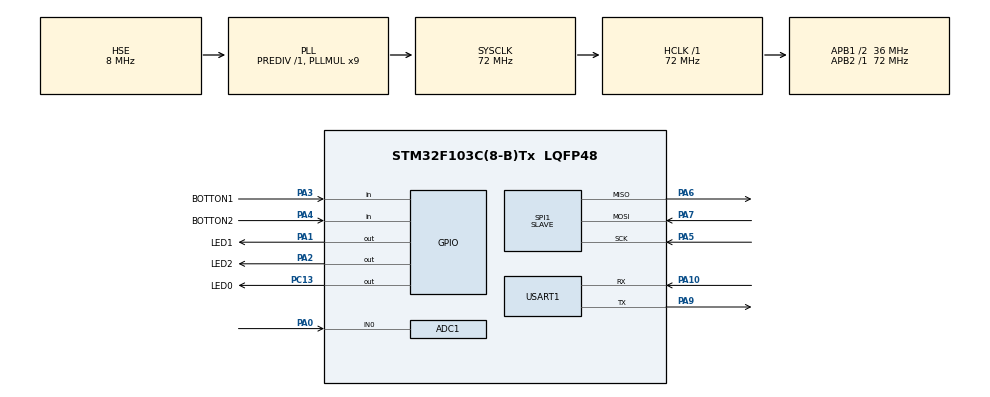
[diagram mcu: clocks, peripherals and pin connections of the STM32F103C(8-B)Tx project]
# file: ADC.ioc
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ADC1.Channel-0\#ChannelRegularConversion=ADC_CHANNEL_0
ADC1.ContinuousConvMode=ENABLE
ADC1.NbrOfConversionFlag=1
ADC1.Rank-0\#ChannelRegularConversion=1
ADC1.SamplingTime-0\#ChannelRegularConversion=ADC_SAMPLETIME_28CYCLES_5
ADC1.master=1
Mcu.Family=STM32F1
Mcu.Name=STM32F103C(8-B)Tx
Mcu.Package=LQFP48
NVIC.PriorityGroup=NVIC_PRIORITYGROUP_4
PA0-WKUP.Signal=ADCx_IN0
PA1.GPIO_Label=LED1
PA1.Signal=GPIO_Output
PA10.Mode=Asynchronous
PA10.Signal=USART1_RX
PA2.GPIO_Label=LED2
PA2.Signal=GPIO_Output
PA3.GPIO_Label=BOTTON1
PA3.GPIO_PuPd=GPIO_PULLUP
PA3.Signal=GPIO_Input
PA4.GPIO_Label=BOTTON2
PA4.GPIO_PuPd=GPIO_PULLUP
PA4.Signal=GPIO_Input
PA5.Mode=Full_Duplex_Slave
PA5.Signal=SPI1_SCK
PA6.Mode=Full_Duplex_Slave
PA6.Signal=SPI1_MISO
PA7.Mode=Full_Duplex_Slave
PA7.Signal=SPI1_MOSI
PA9.Mode=Asynchronous
PA9.Signal=USART1_TX
PC13-TAMPER-RTC.GPIO_Label=LED0
PC13-TAMPER-RTC.Signal=GPIO_Output
PD0-OSC_IN.Mode=HSE-External-Oscillator
PD0-OSC_IN.Signal=RCC_OSC_IN
PD1-OSC_OUT.Mode=HSE-External-Oscillator
PD1-OSC_OUT.Signal=RCC_OSC_OUT
ProjectManager.HeapSize=0x200
ProjectManager.StackSize=0x400
ProjectManager.TargetToolchain=MDK-ARM V5.32
RCC.ADCPresc=RCC_ADCPCLK2_DIV6
RCC.AHBFreq_Value=72000000
RCC.APB1CLKDivider=RCC_HCLK_DIV2
RCC.APB1Freq_Value=36000000
RCC.APB1TimFreq_Value=72000000
RCC.APB2Freq_Value=72000000
RCC.APB2TimFreq_Value=72000000
RCC.HCLKFreq_Value=72000000
RCC.PLLMUL=RCC_PLL_MUL9
RCC.PLLSourceVirtual=RCC_PLLSOURCE_HSE
RCC.SYSCLKFreq_VALUE=72000000
RCC.SYSCLKSource=RCC_SYSCLKSOURCE_PLLCLK
RCC.USBFreq_Value=72000000
SH.ADCx_IN0.0=ADC1_IN0,IN0
SPI1.Direction=SPI_DIRECTION_2LINES
SPI1.Mode=SPI_MODE_SLAVE
SPI1.VirtualType=VM_SLAVE
USART1.StopBits=STOPBITS_1
USART1.VirtualMode=VM_ASYNC
VP_SYS_VS_ND.Mode=No_Debug
board=custom

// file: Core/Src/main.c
/* USER CODE BEGIN Header */
/**
  ******************************************************************************
  * @file           : main.c
  * @brief          : Main program body
  ******************************************************************************
  * @attention
  *
  * Copyright (c) 2025 STMicroelectronics.
  * All rights reserved.
  *
  * This software is licensed under terms that can be found in the LICENSE file
  * in the root directory of this software component.
  * If no LICENSE file comes with this software, it is provided AS-IS.
  *
  ******************************************************************************
  */
/* USER CODE END Header */
#include "main.h"
#include "adc.h"
#include "spi.h"
#include "usart.h"
#include "gpio.h"

/* USER CODE BEGIN Includes */
#include <stdio.h>
#include <inttypes.h>
#include "button.h"
#include "line.h"
#include "select.h"
/* USER CODE END Includes */

/* USER CODE BEGIN PD */
#define KEY_PIN GPIO_PIN_3  // 改为PA3引脚
#define KEY_GPIO_PORT GPIOA
#define KEY_PRESSED 0  // 上拉输入时，按键按下为低电平（0）
#define STOP_DELAY 1000  // 停止前的延迟时间(ms)

#define LED0_PIN GPIO_PIN_13
#define LED0_GPIO_PORT GPIOC
#define LED0_ON  HAL_GPIO_WritePin(LED0_GPIO_PORT, LED0_PIN, GPIO_PIN_RESET)  // 假设低电平亮（根据硬件确定）
#define LED0_OFF HAL_GPIO_WritePin(LED0_GPIO_PORT, LED0_PIN, GPIO_PIN_SET)    // 高电平灭
#define LED0_TOGGLE HAL_GPIO_TogglePin(LED0_GPIO_PORT, LED0_PIN)  // 翻转状态

/* USER CODE END PD */

void SystemClock_Config(void);

int main(void)
{

  /* USER CODE BEGIN 1 */
//	uint32_t adc_value;
//    float voltage;
//	uint32_t current_time;  // 用于记录当前时间戳（毫秒）
//	uint32_t tick_count = 0;
  /* USER CODE END 1 */

  /* MCU Configuration--------------------------------------------------------*/

  /* Reset of all peripherals, Initializes the Flash interface and the Systick. */
  HAL_Init();

  /* Configure the system clock */
  SystemClock_Config();

  /* Initialize all configured peripherals */
  MX_GPIO_Init();
  MX_ADC1_Init();
  MX_USART1_UART_Init();
  MX_SPI1_Init();
  /* USER CODE BEGIN 2 */
	HAL_ADC_Start(&hadc1);

// 初始化选择器
	Select_Init();

   printf("symtem on...\r\n");

   LED0_OFF;
  /* USER CODE END 2 */

  /* Infinite loop */
  /* USER CODE BEGIN WHILE */
  // 初始化“下一次采样目标时间”为当前时间
  uint32_t target_tick = HAL_GetTick();
  const uint32_t SAMPLE_PERIOD = 50; // 严格的 50ms 周期

  while (1)
  {
    /* USER CODE END WHILE */

    /* USER CODE BEGIN 3 */

// ============================================================
	while (HAL_GetTick() < target_tick) {
        // 在等待期间持续扫描按键，响应更快
        uint8_t key = Button_Scan();
        Line_State_t current_state = Select_GetState();

        if (key == 1) {
            if (current_state == LINE_WORK_PREDICT || current_state == LINE_WORK_SUCCESS) {
                Select_Stop();
            } else if (current_state == LINE_IDLE) {
                // 重置时间锚点，防止暂停期间 target_tick 落后太久导致瞬间连发
                target_tick = HAL_GetTick();
                Select_Start_Work_Predict();
            }
        }
        else if (key == 2) {
            if (current_state == LINE_IDLE || current_state == LINE_WORK_SUCCESS) {
                target_tick = HAL_GetTick(); // 重置时间锚点
                Select_Start_L1_Test();
            }
        }
    }

    // ============================================================
    // 2. 到达时间点，执行核心任务
    // ============================================================
    // 锁定下一次的任务时间 (强制 +50，消除累积漂移)
    target_tick += SAMPLE_PERIOD;

    Line_State_t current_state = Select_GetState();

    // 只有在工作状态下才执行 ADC 采样和算法
    if (current_state == LINE_TEST_L1 || current_state == LINE_WORK_PREDICT || current_state == LINE_WORK_SUCCESS)
    {
        // --- LED 控制 ---
        if (current_state == LINE_WORK_SUCCESS) {
            static uint8_t blink_cnt = 0;
            blink_cnt++;
            if (blink_cnt >= 2) { // 100ms 闪烁
                LED0_TOGGLE;
                blink_cnt = 0;
            }
        } else {
            LED0_ON;
        }

        // --- ADC 采样与算法处理 ---
        // 此时已经是严格的 50ms 间隔点
        HAL_ADC_Start(&hadc1);
        if (HAL_ADC_PollForConversion(&hadc1, 10) == HAL_OK) {
            uint32_t adc_val = HAL_ADC_GetValue(&hadc1);
            Select_Process(adc_val);
        }
    }
    else
    {
        // 空闲状态：不需要严格对齐，让出 CPU 防止死循环过热（虽然 MCU 不怕热）
        LED0_OFF;
        HAL_Delay(10); // 稍微休眠一下
        // 空闲时要不断把 target_tick 同步到当前，否则一旦启动会因为 target 滞后而疯狂补作业
        target_tick = HAL_GetTick() + SAMPLE_PERIOD;
    }
  }
  /* USER CODE END 3 */
}

void SystemClock_Config(void)
{
  RCC_OscInitTypeDef RCC_OscInitStruct = {0};
  RCC_ClkInitTypeDef RCC_ClkInitStruct = {0};
  RCC_PeriphCLKInitTypeDef PeriphClkInit = {0};

  /** Initializes the RCC Oscillators according to the specified parameters
  * in the RCC_OscInitTypeDef structure.
  */
  RCC_OscInitStruct.OscillatorType = RCC_OSCILLATORTYPE_HSE;
  RCC_OscInitStruct.HSEState = RCC_HSE_ON;
  RCC_OscInitStruct.HSEPredivValue = RCC_HSE_PREDIV_DIV1;
  RCC_OscInitStruct.HSIState = RCC_HSI_ON;
  RCC_OscInitStruct.PLL.PLLState = RCC_PLL_ON;
  RCC_OscInitStruct.PLL.PLLSource = RCC_PLLSOURCE_HSE;
  RCC_OscInitStruct.PLL.PLLMUL = RCC_PLL_MUL9;
  if (HAL_RCC_OscConfig(&RCC_OscInitStruct) != HAL_OK)
  {
    Error_Handler();
  }

  /** Initializes the CPU, AHB and APB buses clocks
  */
  RCC_ClkInitStruct.ClockType = RCC_CLOCKTYPE_HCLK|RCC_CLOCKTYPE_SYSCLK
                              |RCC_CLOCKTYPE_PCLK1|RCC_CLOCKTYPE_PCLK2;
  RCC_ClkInitStruct.SYSCLKSource = RCC_SYSCLKSOURCE_PLLCLK;
  RCC_ClkInitStruct.AHBCLKDivider = RCC_SYSCLK_DIV1;
  RCC_ClkInitStruct.APB1CLKDivider = RCC_HCLK_DIV2;
  RCC_ClkInitStruct.APB2CLKDivider = RCC_HCLK_DIV1;

  if (HAL_RCC_ClockConfig(&RCC_ClkInitStruct, FLASH_LATENCY_2) != HAL_OK)
  {
    Error_Handler();
  }
  PeriphClkInit.PeriphClockSelection = RCC_PERIPHCLK_ADC;
  PeriphClkInit.AdcClockSelection = RCC_ADCPCLK2_DIV6;
  if (HAL_RCCEx_PeriphCLKConfig(&PeriphClkInit) != HAL_OK)
  {
    Error_Handler();
  }
}

void Error_Handler(void)
{
  /* USER CODE BEGIN Error_Handler_Debug */
  /* User can add his own implementation to report the HAL error return state */
  __disable_irq();
  while (1)
  {
	  __disable_irq();
  uint32_t timeout = 0;
  while (1)
  {
    timeout++;
    if (timeout > 2000000) // Լ1�볬ʱ��λ���������Ƶ������
    {
      NVIC_SystemReset(); // �����λ
    }
  }
  }
  /* USER CODE END Error_Handler_Debug */
}
